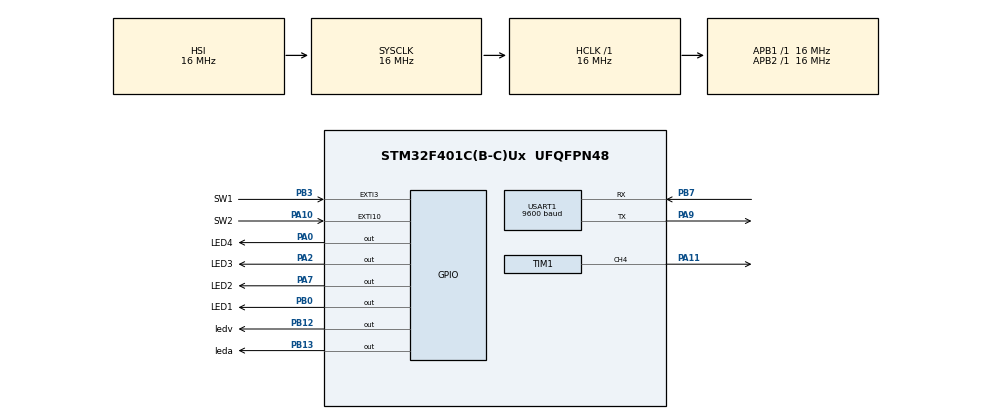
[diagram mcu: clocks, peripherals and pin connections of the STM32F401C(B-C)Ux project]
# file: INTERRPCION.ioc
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Dma.Request0=USART1_RX
Dma.USART1_RX.0.Direction=DMA_PERIPH_TO_MEMORY
Dma.USART1_RX.0.FIFOMode=DMA_FIFOMODE_DISABLE
Dma.USART1_RX.0.Instance=DMA2_Stream2
Dma.USART1_RX.0.MemDataAlignment=DMA_MDATAALIGN_BYTE
Dma.USART1_RX.0.MemInc=DMA_MINC_ENABLE
Dma.USART1_RX.0.Mode=DMA_NORMAL
Dma.USART1_RX.0.PeriphDataAlignment=DMA_PDATAALIGN_BYTE
Dma.USART1_RX.0.PeriphInc=DMA_PINC_DISABLE
Dma.USART1_RX.0.Priority=DMA_PRIORITY_LOW
Mcu.Family=STM32F4
Mcu.Name=STM32F401C(B-C)Ux
Mcu.Package=UFQFPN48
NVIC.DMA2_Stream2_IRQn=true\:0\:0\:false\:false\:true\:false\:true\:true
NVIC.EXTI15_10_IRQn=true\:0\:0\:false\:false\:true\:true\:true\:true
NVIC.EXTI3_IRQn=true\:3\:0\:true\:false\:true\:true\:true\:true
NVIC.PriorityGroup=NVIC_PRIORITYGROUP_4
NVIC.TIM1_UP_TIM10_IRQn=true\:1\:0\:true\:false\:true\:true\:true\:true
NVIC.USART1_IRQn=true\:0\:0\:false\:false\:true\:true\:true\:true
PA0-WKUP.GPIO_Label=LED4
PA0-WKUP.Signal=GPIO_Output
PA10.GPIO_Label=SW2
PA10.GPIO_ModeDefaultEXTI=GPIO_MODE_IT_FALLING
PA10.GPIO_PuPd=GPIO_PULLUP
PA10.Signal=GPXTI10
PA11.Signal=S_TIM1_CH4
PA2.GPIO_Label=LED3
PA2.Signal=GPIO_Output
PA7.GPIO_Label=LED2
PA7.Signal=GPIO_Output
PA9.Mode=Asynchronous
PA9.Signal=USART1_TX
PB0.GPIO_Label=LED1
PB0.Signal=GPIO_Output
PB12.GPIO_Label=ledv
PB12.Signal=GPIO_Output
PB13.GPIO_Label=leda
PB13.Signal=GPIO_Output
PB3.GPIO_Label=SW1
PB3.GPIO_ModeDefaultEXTI=GPIO_MODE_IT_FALLING
PB3.GPIO_PuPd=GPIO_PULLUP
PB3.Signal=GPXTI3
PB7.Mode=Asynchronous
PB7.Signal=USART1_RX
ProjectManager.HeapSize=0x200
ProjectManager.StackSize=0x400
ProjectManager.TargetToolchain=STM32CubeIDE
RCC.AHBFreq_Value=16000000
RCC.APB1Freq_Value=16000000
RCC.APB2Freq_Value=16000000
RCC.CortexFreq_Value=16000000
RCC.HSE_VALUE=25000000
RCC.HSI_VALUE=16000000
RCC.LSE_VALUE=32768
RCC.SYSCLKFreq_VALUE=16000000
RCC.VCOOutputFreq_Value=192000000
SH.S_TIM1_CH4.0=TIM1_CH4,PWM Generation4 CH4
TIM1.AutoReloadPreload=TIM_AUTORELOAD_PRELOAD_ENABLE
TIM1.Channel-PWM\ Generation4\ CH4=TIM_CHANNEL_4
TIM1.Period=500
TIM1.Prescaler=16000-1
TIM1.Pulse-PWM\ Generation4\ CH4=250
USART1.BaudRate=9600
USART1.VirtualMode=VM_ASYNC
VP_TIM1_VS_ClockSourceINT.Mode=Internal
board=custom

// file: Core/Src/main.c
/* USER CODE BEGIN Header */
/**
  ******************************************************************************
  * @file           : main.c
  * @brief          : Main program body
  ******************************************************************************
  * @attention
  *
  * Copyright (c) 2024 STMicroelectronics.
  * All rights reserved.
  *
  * This software is licensed under terms that can be found in the LICENSE file
  * in the root directory of this software component.
  * If no LICENSE file comes with this software, it is provided AS-IS.
  *
  ******************************************************************************
  */
/* USER CODE END Header */
#include "main.h"

/* USER CODE BEGIN Includes */
#include "pinout.h"
#include "uart.h"
#include "uart_int_idle_dma.h"
#include "PWMB.h"

#include "stdio.h"
#include "stdint.h"
#include "stdlib.h"
#include "string.h"

/* USER CODE END Includes */

TIM_HandleTypeDef htim1;

UART_HandleTypeDef huart1;
DMA_HandleTypeDef hdma_usart1_rx;

void SystemClock_Config(void);
static void MX_GPIO_Init(void);
static void MX_DMA_Init(void);
static void MX_TIM1_Init(void);
static void MX_USART1_UART_Init(void);

/* USER CODE BEGIN 0 */

void procesa_rx()
{
	 if(strstr(trama_rx, "ledaon"))
		 {
    PIN_ON(leda);
         }

	 else if(strstr(trama_rx, "ledaoff"))
	 		 {
	     PIN_OFF(leda);
	          }

	 else if(strstr(trama_rx, "ledvon"))
			 {
	    PIN_ON(ledv);
	         }

		 else if(strstr(trama_rx, "ledvoff"))
		 		 {
		     PIN_OFF(ledv);
		          }

//VELO=20/
		 else if(strstr(trama_rx, "VELO"))
			 {
				  strcpy(procesa, strtok(trama_rx, "="));  //inicia captura de tokens desde el =
				  strcpy(procesa, strtok(0, "/"));  //captura hasta el /
				  uint16_t valor=atoi(procesa);//captura el valor de la variable
				   PWM_valor(&PWM1, valor);//canal y valor
			     }

}

/* USER CODE END 0 */

int main(void)
{

  /* MCU Configuration--------------------------------------------------------*/

  /* Reset of all peripherals, Initializes the Flash interface and the Systick. */
  HAL_Init();

  /* Configure the system clock */
  SystemClock_Config();

  /* Initialize all configured peripherals */
  MX_GPIO_Init();
  MX_DMA_Init();
  MX_TIM1_Init();
  MX_USART1_UART_Init();
  /* USER CODE BEGIN 2 */
  HAL_TIM_Base_Start_IT(&htim1);
   uartdat_it_idle_dma_init();
   PWM_init(&PWM1);
   PWM_valor(&PWM1, 50);//canal y valor
  /* USER CODE END 2 */

  /* Infinite loop */
  /* USER CODE BEGIN WHILE */
  while (1)
  {
	 if (flag_rx==1)
	 {

		 procesa_rx();
//		 uartx_write_text(&huart1, "llego\r\n");
	//	 uartx_write_text(&huart1, trama_rx);
		 uartdat_it_idle_dma_init();
		 flag_rx==0;

	 }

	PIN_BLINK(LED1);
	HAL_Delay(500);
   uartx_write_text(&huart1, "OKS\r\n");
    /* USER CODE END WHILE */

  }
}

void SystemClock_Config(void)
{
  RCC_OscInitTypeDef RCC_OscInitStruct = {0};
  RCC_ClkInitTypeDef RCC_ClkInitStruct = {0};

  /** Configure the main internal regulator output voltage
  */
  __HAL_RCC_PWR_CLK_ENABLE();
  __HAL_PWR_VOLTAGESCALING_CONFIG(PWR_REGULATOR_VOLTAGE_SCALE2);

  /** Initializes the RCC Oscillators according to the specified parameters
  * in the RCC_OscInitTypeDef structure.
  */
  RCC_OscInitStruct.OscillatorType = RCC_OSCILLATORTYPE_HSI;
  RCC_OscInitStruct.HSIState = RCC_HSI_ON;
  RCC_OscInitStruct.HSICalibrationValue = RCC_HSICALIBRATION_DEFAULT;
  RCC_OscInitStruct.PLL.PLLState = RCC_PLL_NONE;
  if (HAL_RCC_OscConfig(&RCC_OscInitStruct) != HAL_OK)
  {
    Error_Handler();
  }

  /** Initializes the CPU, AHB and APB buses clocks
  */
  RCC_ClkInitStruct.ClockType = RCC_CLOCKTYPE_HCLK|RCC_CLOCKTYPE_SYSCLK
                              |RCC_CLOCKTYPE_PCLK1|RCC_CLOCKTYPE_PCLK2;
  RCC_ClkInitStruct.SYSCLKSource = RCC_SYSCLKSOURCE_HSI;
  RCC_ClkInitStruct.AHBCLKDivider = RCC_SYSCLK_DIV1;
  RCC_ClkInitStruct.APB1CLKDivider = RCC_HCLK_DIV1;
  RCC_ClkInitStruct.APB2CLKDivider = RCC_HCLK_DIV1;

  if (HAL_RCC_ClockConfig(&RCC_ClkInitStruct, FLASH_LATENCY_0) != HAL_OK)
  {
    Error_Handler();
  }
}

static void MX_TIM1_Init(void)
{

  TIM_ClockConfigTypeDef sClockSourceConfig = {0};
  TIM_MasterConfigTypeDef sMasterConfig = {0};
  TIM_OC_InitTypeDef sConfigOC = {0};
  TIM_BreakDeadTimeConfigTypeDef sBreakDeadTimeConfig = {0};

  htim1.Instance = TIM1;
  htim1.Init.Prescaler = 16000-1;
  htim1.Init.CounterMode = TIM_COUNTERMODE_UP;
  htim1.Init.Period = 500;
  htim1.Init.ClockDivision = TIM_CLOCKDIVISION_DIV1;
  htim1.Init.RepetitionCounter = 0;
  htim1.Init.AutoReloadPreload = TIM_AUTORELOAD_PRELOAD_ENABLE;
  if (HAL_TIM_Base_Init(&htim1) != HAL_OK)
  {
    Error_Handler();
  }
  sClockSourceConfig.ClockSource = TIM_CLOCKSOURCE_INTERNAL;
  if (HAL_TIM_ConfigClockSource(&htim1, &sClockSourceConfig) != HAL_OK)
  {
    Error_Handler();
  }
  if (HAL_TIM_PWM_Init(&htim1) != HAL_OK)
  {
    Error_Handler();
  }
  sMasterConfig.MasterOutputTrigger = TIM_TRGO_RESET;
  sMasterConfig.MasterSlaveMode = TIM_MASTERSLAVEMODE_DISABLE;
  if (HAL_TIMEx_MasterConfigSynchronization(&htim1, &sMasterConfig) != HAL_OK)
  {
    Error_Handler();
  }
  sConfigOC.OCMode = TIM_OCMODE_PWM1;
  sConfigOC.Pulse = 250;
  sConfigOC.OCPolarity = TIM_OCPOLARITY_HIGH;
  sConfigOC.OCFastMode = TIM_OCFAST_DISABLE;
  sConfigOC.OCIdleState = TIM_OCIDLESTATE_RESET;
  sConfigOC.OCNIdleState = TIM_OCNIDLESTATE_RESET;
  if (HAL_TIM_PWM_ConfigChannel(&htim1, &sConfigOC, TIM_CHANNEL_4) != HAL_OK)
  {
    Error_Handler();
  }
  sBreakDeadTimeConfig.OffStateRunMode = TIM_OSSR_DISABLE;
  sBreakDeadTimeConfig.OffStateIDLEMode = TIM_OSSI_DISABLE;
  sBreakDeadTimeConfig.LockLevel = TIM_LOCKLEVEL_OFF;
  sBreakDeadTimeConfig.DeadTime = 0;
  sBreakDeadTimeConfig.BreakState = TIM_BREAK_DISABLE;
  sBreakDeadTimeConfig.BreakPolarity = TIM_BREAKPOLARITY_HIGH;
  sBreakDeadTimeConfig.AutomaticOutput = TIM_AUTOMATICOUTPUT_DISABLE;
  if (HAL_TIMEx_ConfigBreakDeadTime(&htim1, &sBreakDeadTimeConfig) != HAL_OK)
  {
    Error_Handler();
  }
  HAL_TIM_MspPostInit(&htim1);

}

static void MX_USART1_UART_Init(void)
{

  huart1.Instance = USART1;
  huart1.Init.BaudRate = 9600;
  huart1.Init.WordLength = UART_WORDLENGTH_8B;
  huart1.Init.StopBits = UART_STOPBITS_1;
  huart1.Init.Parity = UART_PARITY_NONE;
  huart1.Init.Mode = UART_MODE_TX_RX;
  huart1.Init.HwFlowCtl = UART_HWCONTROL_NONE;
  huart1.Init.OverSampling = UART_OVERSAMPLING_16;
  if (HAL_UART_Init(&huart1) != HAL_OK)
  {
    Error_Handler();
  }

}

static void MX_DMA_Init(void)
{

  /* DMA controller clock enable */
  __HAL_RCC_DMA2_CLK_ENABLE();

  /* DMA interrupt init */
  /* DMA2_Stream2_IRQn interrupt configuration */
  HAL_NVIC_SetPriority(DMA2_Stream2_IRQn, 0, 0);
  HAL_NVIC_EnableIRQ(DMA2_Stream2_IRQn);

}

static void MX_GPIO_Init(void)
{
  GPIO_InitTypeDef GPIO_InitStruct = {0};

  /* GPIO Ports Clock Enable */
  __HAL_RCC_GPIOA_CLK_ENABLE();
  __HAL_RCC_GPIOB_CLK_ENABLE();

  /*Configure GPIO pin Output Level */
  HAL_GPIO_WritePin(GPIOA, LED4_Pin|LED3_Pin|LED2_Pin, GPIO_PIN_RESET);

  /*Configure GPIO pin Output Level */
  HAL_GPIO_WritePin(GPIOB, LED1_Pin|ledv_Pin|leda_Pin, GPIO_PIN_RESET);

  /*Configure GPIO pins : LED4_Pin LED3_Pin LED2_Pin */
  GPIO_InitStruct.Pin = LED4_Pin|LED3_Pin|LED2_Pin;
  GPIO_InitStruct.Mode = GPIO_MODE_OUTPUT_PP;
  GPIO_InitStruct.Pull = GPIO_NOPULL;
  GPIO_InitStruct.Speed = GPIO_SPEED_FREQ_LOW;
  HAL_GPIO_Init(GPIOA, &GPIO_InitStruct);

  /*Configure GPIO pins : LED1_Pin ledv_Pin leda_Pin */
  GPIO_InitStruct.Pin = LED1_Pin|ledv_Pin|leda_Pin;
  GPIO_InitStruct.Mode = GPIO_MODE_OUTPUT_PP;
  GPIO_InitStruct.Pull = GPIO_NOPULL;
  GPIO_InitStruct.Speed = GPIO_SPEED_FREQ_LOW;
  HAL_GPIO_Init(GPIOB, &GPIO_InitStruct);

  /*Configure GPIO pin : SW2_Pin */
  GPIO_InitStruct.Pin = SW2_Pin;
  GPIO_InitStruct.Mode = GPIO_MODE_IT_FALLING;
  GPIO_InitStruct.Pull = GPIO_PULLUP;
  HAL_GPIO_Init(SW2_GPIO_Port, &GPIO_InitStruct);

  /*Configure GPIO pin : SW1_Pin */
  GPIO_InitStruct.Pin = SW1_Pin;
  GPIO_InitStruct.Mode = GPIO_MODE_IT_FALLING;
  GPIO_InitStruct.Pull = GPIO_PULLUP;
  HAL_GPIO_Init(SW1_GPIO_Port, &GPIO_InitStruct);

  /* EXTI interrupt init*/
  HAL_NVIC_SetPriority(EXTI3_IRQn, 3, 0);
  HAL_NVIC_EnableIRQ(EXTI3_IRQn);

  HAL_NVIC_SetPriority(EXTI15_10_IRQn, 0, 0);
  HAL_NVIC_EnableIRQ(EXTI15_10_IRQn);

}

void Error_Handler(void)
{
  __disable_irq();
  while (1)
  {
  }
}
